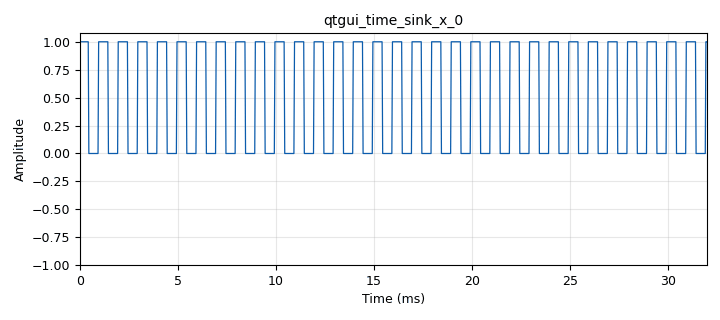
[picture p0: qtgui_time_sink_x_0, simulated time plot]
options:
  parameters:
    author: gpellaeon
    generate_options: qt_gui
    id: signal_thresh
    output_language: python
    title: Signal + Threshold
  states: {}

blocks:
- name: samp_rate
  id: variable
  parameters:
    value: '32000'
  states: {}
- name: analog_sig_source_x_0
  id: analog_sig_source_x
  parameters:
    amp: '1'
    freq: '1000'
    offset: '0'
    phase: '0'
    samp_rate: samp_rate
    type: float
    waveform: analog.GR_COS_WAVE
  states: {}
- name: blocks_threshold_ff_0
  id: blocks_threshold_ff
  parameters:
    high: '0.9'
    init: '0'
    low: '-0.9'
  states: {}
- name: blocks_throttle_0
  id: blocks_throttle
  parameters:
    samples_per_second: samp_rate
    type: float
  states: {}
- name: qtgui_time_sink_x_0
  id: qtgui_time_sink_x
  parameters:
    size: '1024'
    srate: samp_rate
    type: float
  states: {}

connections:
- [analog_sig_source_x_0, '0', blocks_threshold_ff_0, '0']
- [blocks_threshold_ff_0, '0', blocks_throttle_0, '0']
- [blocks_throttle_0, '0', qtgui_time_sink_x_0, '0']

metadata:
  file_format: 1
